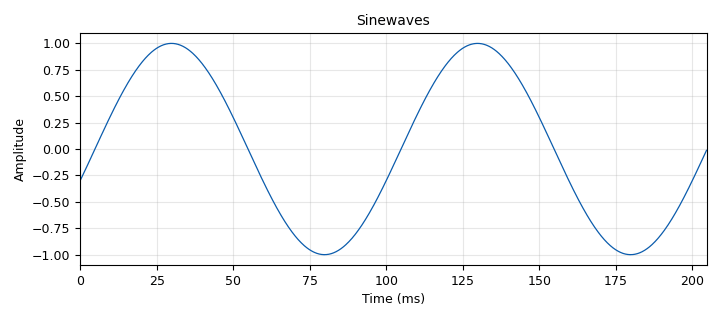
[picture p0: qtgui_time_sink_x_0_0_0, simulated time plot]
options:
  parameters:
    author: vishalgajjar
    generate_options: qt_gui
    id: sinewave
    output_language: python
    title: Not titled yet
  states: {}

blocks:
- name: samp_rate
  id: variable
  parameters:
    value: '5000'
  states: {}
- name: analog_sig_source_x_0
  id: analog_sig_source_x
  parameters:
    amp: '1'
    freq: '10'
    offset: '0'
    phase: '0'
    samp_rate: samp_rate
    type: float
    waveform: analog.GR_SIN_WAVE
  states: {}
- name: qtgui_time_sink_x_0_0_0
  id: qtgui_time_sink_x
  parameters:
    autoscale: 'True'
    grid: 'True'
    name: Sinewaves
    size: '1024'
    srate: samp_rate
    type: float
  states: {}

connections:
- [analog_sig_source_x_0, '0', qtgui_time_sink_x_0_0_0, '0']

metadata:
  file_format: 1
  grc_version: 3.10.7.0
